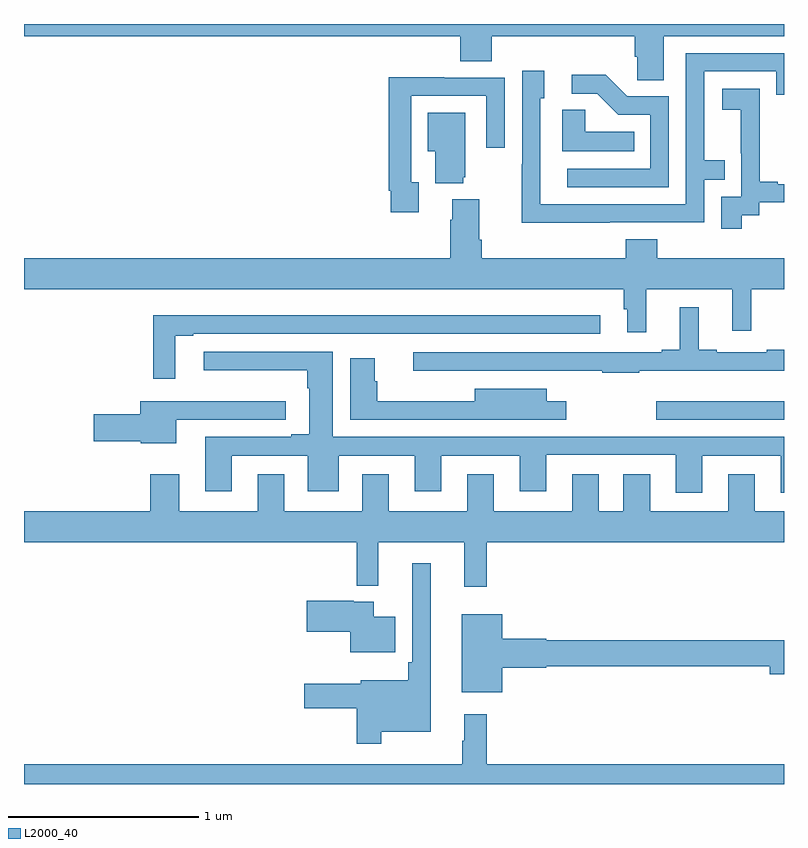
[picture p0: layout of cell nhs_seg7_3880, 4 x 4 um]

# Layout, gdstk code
import gdstk
lib = gdstk.Library(unit=1e-6, precision=1e-09)
def R(c, l, rs):  # rectangles x0, y0, x1, y1
    for r in rs: c.add(gdstk.rectangle(r[:2], r[2:], *l))
def P(c, l, *ps):  # polygons
    for p in ps: c.add(gdstk.Polygon(p, *l))
L2000_40 = (2000, 40)

nhs_seg7_3880 = lib.new_cell('nhs_seg7_3880')
R(nhs_seg7_3880, L2000_40, [(360.327,1011.918,361,1012.015)])
P(nhs_seg7_3880, L2000_40, [(360.367,1013.936),(361,1013.936),(361,1014),(357,1014),(357,1013.936),(359.297,1013.936),(359.297,1013.803),(359.462,1013.803),(359.462,1013.936),(360.215,1013.936),(360.215,1013.827),(360.228,1013.827),(360.228,1013.704),(360.367,1013.704)],
  [(360.083,1012.956),(360.579,1012.956),(360.579,1013.181),(360.689,1013.181),(360.689,1013.282),(360.579,1013.282),(360.579,1013.751),(360.96,1013.751),(360.96,1013.628),(361,1013.628),(361,1013.847),(360.483,1013.847),(360.483,1013.052),(359.718,1013.052),(359.718,1013.61),(359.737,1013.61),(359.737,1013.755),(359.622,1013.755),(359.622,1013.261),(359.62,1013.261),(359.62,1012.955),(360.083,1012.955)],
  [(360.393,1013.619),(360.174,1013.619),(360.061,1013.732),(359.883,1013.732),(359.883,1013.634),(360.017,1013.634),(360.128,1013.523),(360.297,1013.523),(360.297,1013.238),(359.859,1013.238),(359.859,1013.142),(360.393,1013.142)],
  [(359.077,1013.166),(359.037,1013.166),(359.037,1013.622),(359.433,1013.622),(359.433,1013.349),(359.529,1013.349),(359.529,1013.718),(359.213,1013.718),(359.213,1013.72),(358.921,1013.72),(358.921,1013.122),(358.929,1013.122),(358.929,1013.01),(359.077,1013.01)],
  [(360.778,1012.993),(360.87,1012.993),(360.87,1013.061),(361,1013.061),(361,1013.157),(360.967,1013.157),(360.967,1013.17),(360.872,1013.17),(360.872,1013.453),(360.873,1013.453),(360.873,1013.659),(360.675,1013.659),(360.675,1013.549),(360.773,1013.549),(360.773,1013.321),(360.774,1013.321),(360.774,1013.091),(360.669,1013.091),(360.669,1012.923),(360.778,1012.923)],
  [(360.212,1013.434),(359.955,1013.434),(359.955,1013.549),(359.834,1013.549),(359.834,1013.33),(360.212,1013.33)],
  [(359.312,1013.193),(359.323,1013.193),(359.323,1013.533),(359.126,1013.533),(359.126,1013.33),(359.165,1013.33),(359.165,1013.162),(359.312,1013.162)],
  [(360.275,1012.604),(360.728,1012.604),(360.728,1012.386),(360.827,1012.386),(360.827,1012.604),(361,1012.604),(361,1012.768),(360.332,1012.768),(360.332,1012.867),(360.167,1012.867),(360.167,1012.768),(359.408,1012.768),(359.408,1012.864),(359.395,1012.864),(359.395,1013.077),(359.255,1013.077),(359.255,1012.97),(359.243,1012.97),(359.243,1012.768),(357,1012.768),(357,1012.604),(360.157,1012.604),(360.157,1012.499),(360.176,1012.499),(360.176,1012.377),(360.275,1012.377)],
  [(360.239,1012.175),(361,1012.175),(361,1012.285),(360.908,1012.285),(360.908,1012.272),(360.646,1012.272),(360.646,1012.285),(360.551,1012.285),(360.551,1012.51),(360.452,1012.51),(360.452,1012.285),(360.356,1012.285),(360.356,1012.272),(359.049,1012.272),(359.049,1012.175),(359.276,1012.175),(359.276,1012.176),(359.848,1012.176),(359.848,1012.175),(360.044,1012.175),(360.044,1012.164),(360.239,1012.164)],
  [(357.796,1012.359),(357.892,1012.359),(357.892,1012.371),(358.722,1012.371),(358.722,1012.37),(358.961,1012.37),(358.961,1012.371),(360.034,1012.371),(360.034,1012.468),(357.679,1012.468),(357.679,1012.134),(357.796,1012.134)],
  [(360.571,1011.727),(360.983,1011.727),(360.983,1011.534),(361,1011.534),(361,1011.828),(358.624,1011.828),(358.624,1012.275),(357.945,1012.275),(357.945,1012.178),(358.49,1012.178),(358.49,1012.082),(358.502,1012.082),(358.502,1011.841),(358.406,1011.841),(358.406,1011.828),(357.953,1011.828),(357.953,1011.54),(358.093,1011.54),(358.093,1011.727),(358.493,1011.727),(358.493,1011.54),(358.657,1011.54),(358.657,1011.727),(359.057,1011.727),(359.057,1011.54),(359.197,1011.54),(359.197,1011.727),(359.609,1011.727),(359.609,1011.54),(359.749,1011.54),(359.749,1011.732),(360.431,1011.732),(360.431,1011.534),(360.571,1011.534)],
  [(359.854,1012.015),(359.752,1012.015),(359.752,1012.081),(359.372,1012.081),(359.372,1012.015),(358.859,1012.015),(358.859,1012.119),(358.846,1012.119),(358.846,1012.24),(358.718,1012.24),(358.718,1011.918),(359.476,1011.918),(359.476,1011.917),(359.854,1011.917)],
  [(357.802,1011.918),(358.378,1011.918),(358.378,1012.015),(357.611,1012.015),(357.611,1011.947),(357.366,1011.947),(357.366,1011.805),(357.615,1011.805),(357.615,1011.794),(357.802,1011.794)],
  [(359.435,1011.272),(361,1011.272),(361,1011.436),(360.847,1011.436),(360.847,1011.631),(360.707,1011.631),(360.707,1011.436),(360.295,1011.436),(360.295,1011.631),(360.155,1011.631),(360.155,1011.436),(360.025,1011.436),(360.025,1011.631),(359.885,1011.631),(359.885,1011.436),(359.473,1011.436),(359.473,1011.631),(359.333,1011.631),(359.333,1011.436),(358.921,1011.436),(358.921,1011.631),(358.781,1011.631),(358.781,1011.436),(358.369,1011.436),(358.369,1011.631),(358.229,1011.631),(358.229,1011.436),(357.817,1011.436),(357.817,1011.631),(357.665,1011.631),(357.665,1011.436),(357,1011.436),(357,1011.272),(358.751,1011.272),(358.751,1011.044),(358.865,1011.044),(358.865,1011.272),(359.318,1011.272),(359.318,1011.039),(359.435,1011.039)],
  [(358.879,1010.276),(359.14,1010.276),(359.14,1011.163),(359.043,1011.163),(359.043,1010.641),(359.023,1010.641),(359.023,1010.545),(358.773,1010.545),(358.773,1010.527),(358.476,1010.527),(358.476,1010.398),(358.75,1010.398),(358.75,1010.211),(358.879,1010.211)],
  [(358.954,1010.881),(358.84,1010.881),(358.84,1010.959),(358.736,1010.959),(358.736,1010.964),(358.488,1010.964),(358.488,1010.801),(358.718,1010.801),(358.718,1010.693),(358.954,1010.693)],
  [(359.518,1010.612),(359.748,1010.612),(359.748,1010.62),(360.926,1010.62),(360.926,1010.578),(361,1010.578),(361,1010.756),(359.748,1010.756),(359.748,1010.764),(359.518,1010.764),(359.518,1010.893),(359.303,1010.893),(359.303,1010.483),(359.518,1010.483)],
  [(361,1010.104),(359.435,1010.104),(359.435,1010.368),(359.318,1010.368),(359.318,1010.228),(359.307,1010.228),(359.307,1010.104),(357,1010.104),(357,1010),(361,1010)])

lib.write_gds('nhs_seg7_3880.gds')
